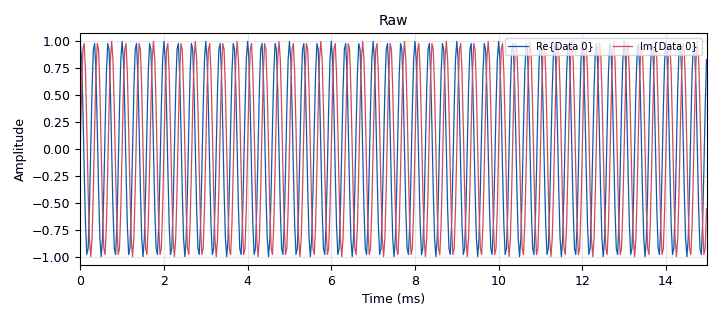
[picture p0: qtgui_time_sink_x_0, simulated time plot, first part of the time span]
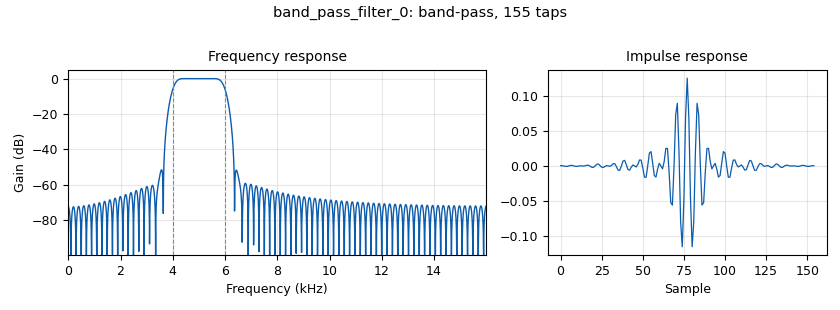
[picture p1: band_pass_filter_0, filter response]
options:
  parameters:
    generate_options: qt_gui
    id: Itrigger2_virtual
    output_language: python
    title: Trigger Virtual
  states: {}

blocks:
- name: freq
  id: variable_qtgui_range
  parameters:
    label: Frequency
    start: 1E3
    step: 1E3
    stop: 10E3
    value: 3E3
  states: {}
- name: movavg_length
  id: variable_qtgui_range
  parameters:
    label: Moving Average Length
    start: '1000'
    step: '1'
    stop: '16383'
    value: '10000'
  states: {}
- name: samp_rate
  id: variable
  parameters:
    value: 32E3
  states: {}
- name: analog_sig_source_x_0
  id: analog_sig_source_x
  parameters:
    amp: '1'
    freq: freq
    offset: '0'
    phase: '0'
    samp_rate: samp_rate
    type: complex
    waveform: analog.GR_COS_WAVE
  states: {}
- name: band_pass_filter_0
  id: band_pass_filter
  parameters:
    decim: '1'
    gain: '1'
    high_cutoff_freq: '6000'
    low_cutoff_freq: '3999'
    samp_rate: samp_rate
    type: fir_filter_ccf
    width: '500'
    win: window.WIN_HAMMING
  states: {}
- name: blocks_complex_to_mag_squared_0
  id: blocks_complex_to_mag_squared
  parameters: {}
  states: {}
- name: blocks_moving_average_xx_0
  id: blocks_moving_average_xx
  parameters:
    length: movavg_length
    max_iter: '4000'
    scale: 1/movavg_length
    type: float
  states: {}
- name: blocks_nlog10_ff_0
  id: blocks_nlog10_ff
  parameters:
    k: '0'
    n: '10'
  states: {}
- name: blocks_throttle_0
  id: blocks_throttle
  parameters:
    samples_per_second: samp_rate
    type: complex
  states: {}
- name: epy_block_1
  id: epy_block
  parameters:
    _source_code: |
      """ Ionosonde Trigger Block
          By Jaden Keener, 2/5/23
          
          Last updated 2/12/23 12:55
          - Added moving average functionality. Now we shouldn't have to manually set
            trigger threshold
          
          This block records the raw SDR output when a strong enough input is 
          provided. This block is meant to be used alongside a filter. The filter 
          should bandpass the trigger frequency, then go to an average power block
          which then feeds into this blocks first input.
          
          Outputs are purely debug.
          
          See __init__ for additional i/o information
      """

      import numpy as np
      import datetime
      from gnuradio import gr

      class blk(gr.sync_block):  

          def __init__(self, trigger_delta_dB=5, samp_rate = 32E3, capture_window = 5): 
              
              """ INPUTS/OUTPUTS:
                      input[0]: Signal average power
                      input[1]: Raw data from SDR
                      input[2]: Moving average of [0]
                      
                      output[0]: debug state information
                      output[1]: debug timer information
                  """
              gr.sync_block.__init__(
                  self,
                  name='Ionosonde Trigger 2.0', 
                  in_sig=[np.float32, np.complex64, np.float32],
                  out_sig=[np.float32, np.float32]
              )
              
              self.trigger_Power = trigger_delta_dB
              self.samp_rate = samp_rate
              self.capture_window = capture_window
              # timer max is calculated as sample rate * capture window in seconds.
              self.timerMax = self.timer = self.samp_rate * self.capture_window
              self.writing = False
             

          def work(self, input_items, output_items):
              
              self.power_movavg = input_items[2]
              
              # Check if we are writing
              if self.writing:
                  # If we are and we still have time on the clock
                  if self.timer < self.timerMax:
                      # Then write data to file
                      self.file.write(input_items[1][:])
                      self.timer += len(input_items[1])
                      output_items[0][:] = 2
                  else:
                      # Otherwise close the file and reset flags
                      self.file.close()
                      self.writing = False
                      output_items[0][:] = 0
              
              # If not writing, do we have high power on trigger?
              elif np.any(input_items[0] > self.trigger_Power+self.power_movavg):
                  # Set status variables
                  self.writing = True
                  self.timer = 0
                  output_items[0][:] = 1
                  
                  # Open new file and do first write
                  self.filename = '{date:%Y%m%d_%H%M%S}.chirp'.format(date=datetime.datetime.now())
                  self.file = open(self.filename, "ab")
                  self.file.write(input_items[1][:])
              # Show debug state of none
              else:
                  output_items[0][:] = 0
              
              # For debugging timer
              output_items[1][:] = self.timer
              
              # gnuradio needs this return
              return len(output_items[0])
    capture_window: '10'
    samp_rate: samp_rate
    trigger_delta_dB: '1'
  states: {}
- name: qtgui_number_sink_0
  id: qtgui_number_sink
  parameters:
    graph_type: qtgui.NUM_GRAPH_HORIZ
    max: '2'
    name: '"Power"'
    type: float
  states: {}
- name: qtgui_number_sink_1
  id: qtgui_number_sink
  parameters:
    graph_type: qtgui.NUM_GRAPH_HORIZ
    max: '3'
    name: '"TrigOut"'
    type: float
  states: {}
- name: qtgui_number_sink_1_1
  id: qtgui_number_sink
  parameters:
    graph_type: qtgui.NUM_GRAPH_HORIZ
    max: 200E3
    min: '0'
    name: '"Timer"'
    type: float
  states: {}
- name: qtgui_number_sink_2
  id: qtgui_number_sink
  parameters:
    autoscale: 'True'
    graph_type: qtgui.NUM_GRAPH_HORIZ
    name: '"Moving Average"'
    type: float
  states: {}
- name: qtgui_time_sink_x_0
  id: qtgui_time_sink_x
  parameters:
    name: '"Raw"'
    size: '1024'
    srate: samp_rate
    type: complex
  states: {}
- name: virtual_sink_0
  id: virtual_sink
  parameters:
    stream_id: signal
  states: {}
- name: virtual_source_0
  id: virtual_source
  parameters:
    stream_id: signal
  states: {}
- name: virtual_source_0_0
  id: virtual_source
  parameters:
    stream_id: signal
  states: {}

connections:
- [analog_sig_source_x_0, '0', blocks_throttle_0, '0']
- [band_pass_filter_0, '0', blocks_complex_to_mag_squared_0, '0']
- [blocks_complex_to_mag_squared_0, '0', blocks_nlog10_ff_0, '0']
- [blocks_moving_average_xx_0, '0', epy_block_1, '2']
- [blocks_moving_average_xx_0, '0', qtgui_number_sink_2, '0']
- [blocks_nlog10_ff_0, '0', blocks_moving_average_xx_0, '0']
- [blocks_nlog10_ff_0, '0', epy_block_1, '0']
- [blocks_nlog10_ff_0, '0', qtgui_number_sink_0, '0']
- [blocks_throttle_0, '0', band_pass_filter_0, '0']
- [blocks_throttle_0, '0', virtual_sink_0, '0']
- [epy_block_1, '0', qtgui_number_sink_1, '0']
- [epy_block_1, '1', qtgui_number_sink_1_1, '0']
- [virtual_source_0, '0', epy_block_1, '1']
- [virtual_source_0_0, '0', qtgui_time_sink_x_0, '0']

metadata:
  file_format: 1
  grc_version: 3.10.5.0
